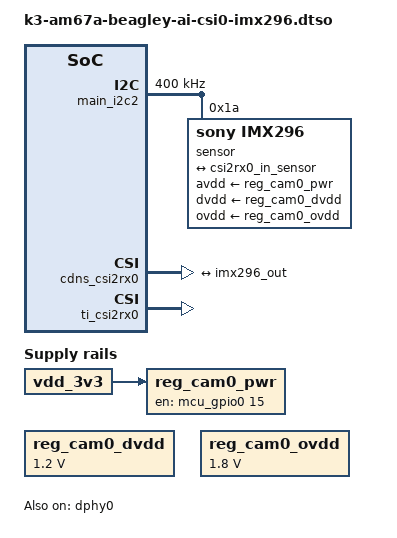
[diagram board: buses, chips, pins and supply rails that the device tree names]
// SPDX-License-Identifier: GPL-2.0
/*
 * BeagleY-AI, CSI0 22-pin connector: Sony IMX296
 * (Raspberry Pi Global Shutter Camera and compatible modules)
 *
 * Layout follows the vendor overlay for this connector,
 * k3-am67a-beagley-ai-csi0-imx219.dtbo: same I2C bus (main_i2c2), same
 * pinctrl groups, same CSI_GPIO1 = MCU_GPIO0_15 for module power, same
 * Cadence CSI2RX bridge / D-PHY / TI CSI2RX targets.
 *
 * IMX296 specifics:
 *  - avdd/dvdd/ovdd supplies are mandatory (regulator_bulk_get()).
 *    Only avdd is real here: it is CSI_GPIO1, which switches the whole
 *    module.  dvdd/ovdd are generated on the camera module itself, so
 *    they are dummies (the voltage values below are nominal).
 *  - The module carries its own 54 MHz oscillator: the 22-pin connector
 *    has no MCLK, so the driver's "inck" is a fixed-clock.  54 MHz is one
 *    of the three rates the driver accepts (37.125 / 54 / 74.25 MHz).
 *  - No reset-gpios.  imx296_power_on() drives a reset GPIO to logic 0;
 *    on this pin (module PWR EN, active high) that would switch the
 *    module off.  PWR EN is owned by the regulator instead, which also
 *    gives the module a 500 ms ramp before the driver's first I2C access.
 *  - One data lane at 594 MHz link (1188 Mbps/lane is hardwired in the
 *    driver) with a non-continuous clock lane, as on Raspberry Pi.
 */

/dts-v1/;
/plugin/;

&{/} {
	clk_imx296_csi0: clock-imx296-csi0 {
		compatible = "fixed-clock";
		#clock-cells = <0>;
		clock-frequency = <54000000>;
	};

	/* Module power: CSI_GPIO1 (MCU_GPIO0_15) -> 22-pin pin 11 (PWR EN). */
	reg_cam0_pwr: regulator-cam0-pwr {
		compatible = "regulator-fixed";
		regulator-name = "cam0-pwr-en";
		pinctrl-names = "default";
		pinctrl-0 = <&csi0_gpio_pins_default>;
		gpio = <&mcu_gpio0 15 0>;		/* 0 = GPIO_ACTIVE_HIGH */
		enable-active-high;
		startup-delay-us = <500000>;
		vin-supply = <&vdd_3v3>;
	};

	/*
	 * Rails generated on the camera module.  They exist only to satisfy
	 * the driver's mandatory regulator_bulk_get(avdd, dvdd, ovdd).
	 */
	reg_cam0_dvdd: regulator-cam0-dvdd {
		compatible = "regulator-fixed";
		regulator-name = "cam0-dvdd";
		regulator-min-microvolt = <1200000>;
		regulator-max-microvolt = <1200000>;
		regulator-always-on;
	};

	reg_cam0_ovdd: regulator-cam0-ovdd {
		compatible = "regulator-fixed";
		regulator-name = "cam0-ovdd";
		regulator-min-microvolt = <1800000>;
		regulator-max-microvolt = <1800000>;
		regulator-always-on;
	};
};

&main_i2c2 {
	status = "okay";
	pinctrl-names = "default";
	pinctrl-0 = <&main_i2c2_pins_default>;
	clock-frequency = <400000>;
	#address-cells = <1>;
	#size-cells = <0>;

	sensor@1a {
		compatible = "sony,imx296";
		reg = <0x1a>;

		clocks = <&clk_imx296_csi0>;
		clock-names = "inck";

		avdd-supply = <&reg_cam0_pwr>;
		dvdd-supply = <&reg_cam0_dvdd>;
		ovdd-supply = <&reg_cam0_ovdd>;

		port {
			imx296_out: endpoint {
				remote-endpoint = <&csi2rx0_in_sensor>;
				link-frequencies = /bits/ 64 <594000000>;
				clock-lanes = <0>;
				data-lanes = <1>;
				clock-noncontinuous;
			};
		};
	};
};

&cdns_csi2rx0 {
	ports {
		#address-cells = <1>;
		#size-cells = <0>;

		port@0 {
			reg = <0>;
			status = "okay";

			csi2rx0_in_sensor: endpoint {
				remote-endpoint = <&imx296_out>;
				bus-type = <4>;		/* MIPI CSI-2 D-PHY */
				clock-lanes = <0>;
				data-lanes = <1>;
				clock-noncontinuous;
			};
		};
	};
};

&ti_csi2rx0 {
	status = "okay";
};

&dphy0 {
	status = "okay";
};
